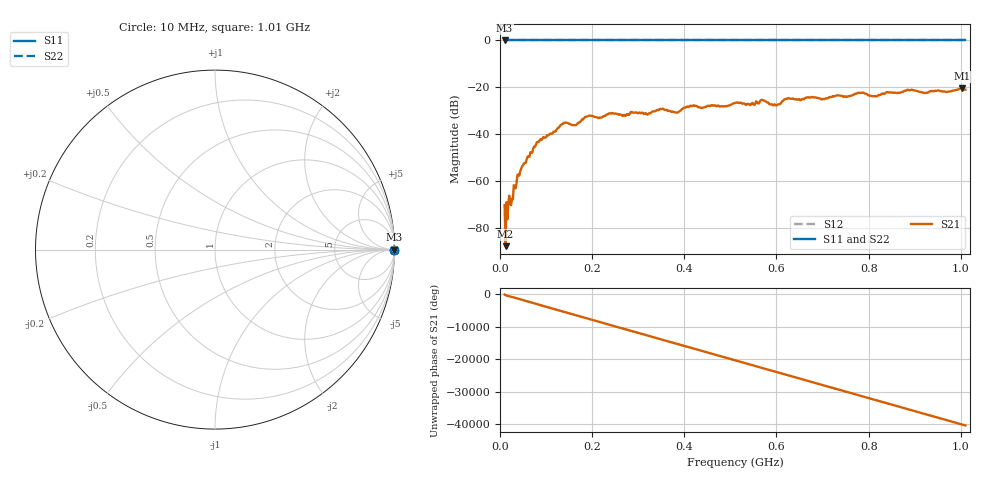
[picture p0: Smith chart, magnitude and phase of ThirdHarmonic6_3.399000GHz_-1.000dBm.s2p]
! 8/17/2025 10:51:12 AM
! C:\ANRITSUVNA\TEMP\TEMP.S2P
! CHANNEL.1
! TR.MEASUREMENT
! RAW.DATA
! RF.CORRECTION.OFF
! AVERAGING.OFF
! IF.BANDWIDTH: 5KHZ
! SWEEPTYPE:  FREQ.SWEEP(Linear)
! Reference Plane Port Info
! PORT:  PORT1  PORT2
! DISTANCE:  0  m  0  m
! TIME:  0  s  0  s
! PHASE.OFFSET:  0  deg.  0  deg.
! LOSS:  0  dB  0  dB
! REF.LOSS:  0  dB  0  dB
! REF.FREQ:  0  Hz  0  Hz
! Power Info
! POWER:  -20  dBm  -20  dBm
! EFF.POWER:  -20  dBm  -20  dBm
! SOURCE.ATTEN:  0  dB  0  dB
! TEST.ATTEN:  0  dB  0  dB
# GHZ S RI R 50.0
! FREQ.GHZ  S11RE  S11IM  S21RE  S21IM  S12RE  S12IM  S22RE  S22IM
!; PortSelection: Port_12
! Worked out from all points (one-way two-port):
!   501 points, 10 MHz to 1.01 GHz, reference 50 ohm
!   highest |S21| = -20.48 dB at 1.002 GHz (marker M1); lowest = -87.9 dB at 12 MHz (marker M2)
!   lowest |S11| = 0.0 dB at 10 MHz (marker M3)
!   |S11| at or under -10 dB: nowhere
!   |S22| runs from 0.0 to 0.0 dB; largest |S21 - S12| = 1.1
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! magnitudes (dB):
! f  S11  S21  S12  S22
! 10 MHz  0.0  -70.4  0.0  0.0
! 12 MHz  0.0  -87.9  0.0  0.0
! 26 MHz  0.0  -67.7  0.0  0.0
! 42 MHz  0.0  -57.8  0.0  0.0
! 78 MHz  0.0  -44.6  0.0  0.0
! 136 MHz  0.0  -35.8  0.0  0.0
! 162 MHz  0.0  -36.2  0.0  0.0
! 178 MHz  0.0  -33.8  0.0  0.0
! 194 MHz  0.0  -32.1  0.0  0.0
! 322 MHz  0.0  -31.3  0.0  0.0
! 344 MHz  0.0  -29.8  0.0  0.0
! 384 MHz  0.0  -30.8  0.0  0.0
! 416 MHz  0.0  -28.1  0.0  0.0
! 510 MHz  0.0  -26.7  0.0  0.0
! 570 MHz  0.0  -25.4  0.0  0.0
! 596 MHz  0.0  -27.2  0.0  0.0
! 622 MHz  0.0  -24.9  0.0  0.0
! 678 MHz  0.0  -24.2  0.0  0.0
! 814 MHz  0.0  -23.7  0.0  0.0
! 844 MHz  0.0  -22.3  0.0  0.0
! 1.002 GHz  0.0  -20.5  0.0  0.0
! 1.01 GHz  0.0  -21.0  0.0  0.0
